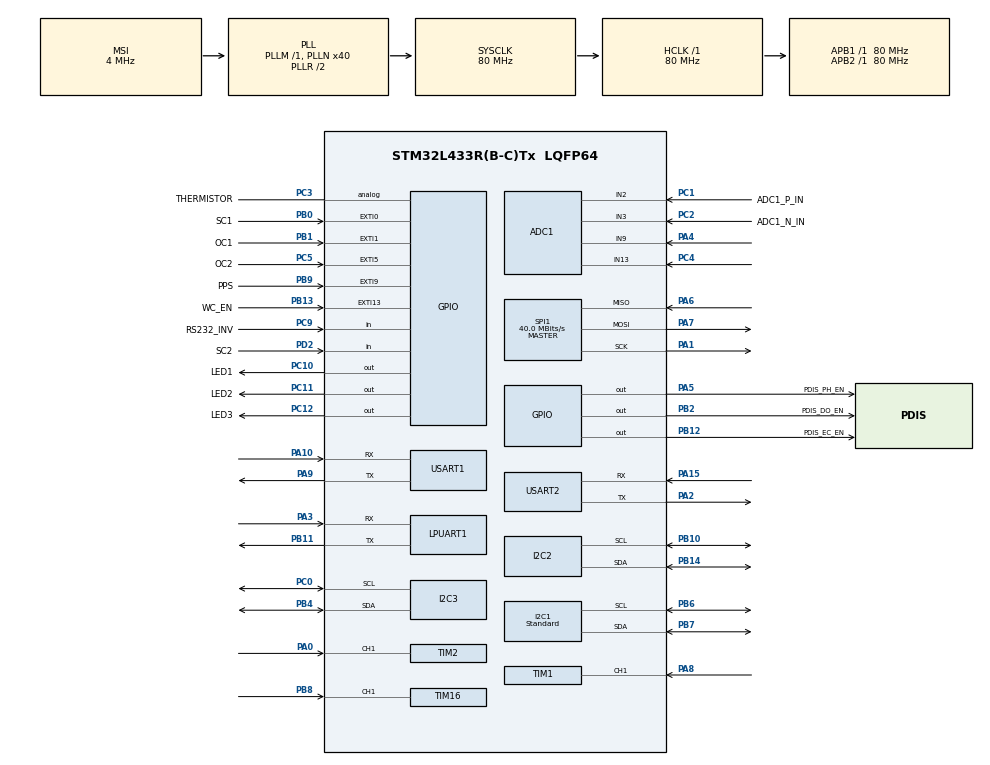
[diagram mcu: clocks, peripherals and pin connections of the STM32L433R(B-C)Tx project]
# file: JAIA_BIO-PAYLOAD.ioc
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ADC1.Channel-1\#ChannelRegularConversion=ADC_CHANNEL_2
ADC1.NbrOfConversionFlag=1
ADC1.OffsetNumber-1\#ChannelRegularConversion=ADC_OFFSET_NONE
ADC1.Rank-1\#ChannelRegularConversion=1
ADC1.SamplingTime-1\#ChannelRegularConversion=ADC_SAMPLETIME_2CYCLES_5
ADC1.SingleDiff-1\#ChannelRegularConversion=ADC_DIFFERENTIAL_ENDED
ADC1.master=1
I2C1.CustomTiming=Disabled
I2C1.I2C_Speed_Mode=I2C_Standard
I2C1.NoStretchMode=I2C_NOSTRETCH_DISABLE
I2C1.Timing=0x10D19CE4
I2C2.Timing=0x10D19CE4
I2C3.Timing=0x10D19CE4
Mcu.Family=STM32L4
Mcu.Name=STM32L433R(B-C)Tx
Mcu.Package=LQFP64
NVIC.PriorityGroup=NVIC_PRIORITYGROUP_4
PA0.Signal=S_TIM2_CH1
PA1.Mode=Full_Duplex_Master
PA1.Signal=SPI1_SCK
PA10.Mode=Asynchronous
PA10.Signal=USART1_RX
PA13\ (JTMS-SWDIO).Mode=Trace_Asynchronous_SW
PA13\ (JTMS-SWDIO).Signal=SYS_JTMS-SWDIO
PA14\ (JTCK-SWCLK).Mode=Trace_Asynchronous_SW
PA14\ (JTCK-SWCLK).Signal=SYS_JTCK-SWCLK
PA15\ (JTDI).Mode=Asynchronous
PA15\ (JTDI).Signal=USART2_RX
PA2.Mode=Asynchronous
PA2.Signal=USART2_TX
PA3.Mode=Asynchronous
PA3.Signal=LPUART1_RX
PA4.Signal=ADCx_IN9
PA5.GPIO_Label=PDIS_PH_EN
PA5.GPIO_PuPd=GPIO_PULLDOWN
PA5.Signal=GPIO_Output
PA6.Mode=Full_Duplex_Master
PA6.Signal=SPI1_MISO
PA7.Mode=Full_Duplex_Master
PA7.Signal=SPI1_MOSI
PA8.Signal=S_TIM1_CH1
PA9.Mode=Asynchronous
PA9.Signal=USART1_TX
PB0.GPIO_Label=SC1
PB0.GPIO_PuPd=GPIO_PULLDOWN
PB0.Signal=GPXTI0
PB1.GPIO_Label=OC1
PB1.GPIO_PuPd=GPIO_PULLDOWN
PB1.Signal=GPXTI1
PB10.Mode=I2C
PB10.Signal=I2C2_SCL
PB11.Mode=Asynchronous
PB11.Signal=LPUART1_TX
PB12.GPIO_Label=PDIS_EC_EN
PB12.GPIO_PuPd=GPIO_PULLDOWN
PB12.Signal=GPIO_Output
PB13.GPIO_Label=WC_EN
PB13.GPIO_PuPd=GPIO_PULLDOWN
PB13.Signal=GPXTI13
PB14.Mode=I2C
PB14.Signal=I2C2_SDA
PB2.GPIO_Label=PDIS_DO_EN
PB2.GPIO_PuPd=GPIO_PULLDOWN
PB2.Signal=GPIO_Output
PB3\ (JTDO-TRACESWO).Mode=Trace_Asynchronous_SW
PB3\ (JTDO-TRACESWO).Signal=SYS_JTDO-SWO
PB4\ (NJTRST).Mode=I2C
PB4\ (NJTRST).Signal=I2C3_SDA
PB6.Mode=I2C
PB6.Signal=I2C1_SCL
PB7.Mode=I2C
PB7.Signal=I2C1_SDA
PB8.Signal=S_TIM16_CH1
PB9.GPIO_Label=PPS
PB9.Signal=GPXTI9
PC0.Mode=I2C
PC0.Signal=I2C3_SCL
PC1.GPIO_Label=ADC1_P_IN
PC1.Signal=ADCx_IN2
PC10.GPIO_Label=LED1
PC10.Signal=GPIO_Output
PC11.GPIO_Label=LED2
PC11.Signal=GPIO_Output
PC12.GPIO_Label=LED3
PC12.Signal=GPIO_Output
PC14-OSC32_IN\ (PC14).Mode=LSE-External-Oscillator
PC14-OSC32_IN\ (PC14).Signal=RCC_OSC32_IN
PC15-OSC32_OUT\ (PC15).Mode=LSE-External-Oscillator
PC15-OSC32_OUT\ (PC15).Signal=RCC_OSC32_OUT
PC2.GPIO_Label=ADC1_N_IN
PC2.Signal=ADCx_IN3
PC3.GPIO_Label=THERMISTOR
PC3.Signal=GPIO_Analog
PC4.Signal=ADCx_IN13
PC5.GPIO_Label=OC2
PC5.GPIO_PuPd=GPIO_PULLDOWN
PC5.Signal=GPXTI5
PC9.GPIO_Label=RS232_INV
PC9.GPIO_PuPd=GPIO_PULLDOWN
PC9.Signal=GPIO_Input
PD2.GPIO_Label=SC2
PD2.Signal=GPIO_Input
PH0-OSC_IN\ (PH0).Mode=HSE-External-Oscillator
PH0-OSC_IN\ (PH0).Signal=RCC_OSC_IN
PH1-OSC_OUT\ (PH1).Mode=HSE-External-Oscillator
PH1-OSC_OUT\ (PH1).Signal=RCC_OSC_OUT
ProjectManager.HeapSize=0x200
ProjectManager.StackSize=0x400
ProjectManager.TargetToolchain=STM32CubeIDE
RCC.ADCFreq_Value=48000000
RCC.AHBFreq_Value=80000000
RCC.APB1Freq_Value=80000000
RCC.APB1TimFreq_Value=80000000
RCC.APB2Freq_Value=80000000
RCC.APB2TimFreq_Value=80000000
RCC.CortexFreq_Value=80000000
RCC.HCLKFreq_Value=80000000
RCC.HSE_VALUE=25000000
RCC.HSI48_VALUE=48000000
RCC.HSI_VALUE=16000000
RCC.MSI_VALUE=4000000
RCC.PLLN=40
RCC.PLLSAI1N=24
RCC.SYSCLKFreq_VALUE=80000000
RCC.SYSCLKSource=RCC_SYSCLKSOURCE_PLLCLK
RCC.USBFreq_Value=48000000
RCC.VCOOutputFreq_Value=160000000
SH.ADCx_IN13.0=ADC1_IN13,IN13-Single-Ended
SH.ADCx_IN2.0=ADC1_IN2,IN2-Differential
SH.ADCx_IN3.0=ADC1_IN3,IN2-Differential
SH.ADCx_IN9.0=ADC1_IN9,IN9-Single-Ended
SH.S_TIM16_CH1.0=TIM16_CH1,Input_Capture1_from_TI1
SH.S_TIM1_CH1.0=TIM1_CH1,Input_Capture1_from_TI1
SH.S_TIM2_CH1.0=TIM2_CH1,Input_Capture1_from_TI1
SPI1.BaudRatePrescaler=SPI_BAUDRATEPRESCALER_2
SPI1.CalculateBaudRate=40.0 MBits/s
SPI1.Direction=SPI_DIRECTION_2LINES
SPI1.Mode=SPI_MODE_MASTER
SPI1.VirtualType=VM_MASTER
TIM1.Channel-Input_Capture1_from_TI1=TIM_CHANNEL_1
TIM16.Channel=TIM_CHANNEL_1
TIM2.Channel-Input_Capture1_from_TI1=TIM_CHANNEL_1
USART1.VirtualMode-Asynchronous=VM_ASYNC
USART2.VirtualMode-Asynchronous=VM_ASYNC
VP_TIM16_VS_ClockSourceINT.Mode=Enable_Timer
board=custom

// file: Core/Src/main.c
/* USER CODE BEGIN Header */
/**
  ******************************************************************************
  * @file           : main.c
  * @brief          : Main program body
  ******************************************************************************
  * @attention
  *
  * Copyright (c) 2024 STMicroelectronics.
  * All rights reserved.
  *
  * This software is licensed under terms that can be found in the LICENSE file
  * in the root directory of this software component.
  * If no LICENSE file comes with this software, it is provided AS-IS.
  *
  ******************************************************************************
  */
/* USER CODE END Header */
#include "main.h"

/* USER CODE BEGIN Includes */

#include "ec_oem.h"
#include "oem_library.h"
#include "stdint.h"
#include "stdio.h"

/* USER CODE END Includes */

ADC_HandleTypeDef hadc1;

I2C_HandleTypeDef hi2c1;
I2C_HandleTypeDef hi2c2;
I2C_HandleTypeDef hi2c3;

UART_HandleTypeDef hlpuart1;
UART_HandleTypeDef huart1;
UART_HandleTypeDef huart2;

SPI_HandleTypeDef hspi1;

TIM_HandleTypeDef htim1;
TIM_HandleTypeDef htim2;
TIM_HandleTypeDef htim16;

/* USER CODE BEGIN PV */

OEM_CHIP ec;
OEM_CHIP dOxy;  // do is a reserved keyword in C, so dissolved oxygen has to be something else
OEM_CHIP ph;

char tx_buff[32] = "Test!\r\n";
uint8_t count = 1;

/* USER CODE END PV */

void SystemClock_Config(void);
static void MX_GPIO_Init(void);
static void MX_ADC1_Init(void);
static void MX_I2C1_Init(void);
static void MX_I2C2_Init(void);
static void MX_I2C3_Init(void);
static void MX_LPUART1_UART_Init(void);
static void MX_USART1_UART_Init(void);
static void MX_USART2_UART_Init(void);
static void MX_SPI1_Init(void);
static void MX_TIM1_Init(void);
static void MX_TIM2_Init(void);
static void MX_TIM16_Init(void);
/* USER CODE BEGIN PFP */

void ConfigureI2CPins(void);

/* USER CODE END PFP */

/* USER CODE BEGIN 0 */

// Loop through memory addresses to find addresses with I2C devices on them
void I2C_Scan(void) {
  uint8_t Buffer[25] = {0};
  uint8_t Space[] = " - ";
  uint8_t StartMSG[] = "Starting I2C Scanning: \r\n";
  uint8_t EndMSG[] = "\r\n\r\n Done! \r\n\r\n";

  uint8_t i = 0, ret;

  HAL_UART_Transmit(&huart2, StartMSG, sizeof(StartMSG), HAL_MAX_DELAY);
  for(i=1; i<128; i++)
  {
      ret = HAL_I2C_IsDeviceReady(&hi2c2, (uint16_t)(i<<1), 3, 5);
      if (ret != HAL_OK) /* No ACK Received At That Address */
      {
        HAL_UART_Transmit(&huart2, Space, sizeof(Space), HAL_MAX_DELAY);
      } else if (ret == HAL_OK) {
        sprintf(Buffer, "0x%X", i);
        HAL_UART_Transmit(&huart2, Buffer, sizeof(Buffer), HAL_MAX_DELAY);
      }
  }
  HAL_UART_Transmit(&huart2, EndMSG, sizeof(EndMSG), HAL_MAX_DELAY);
    /*--[ Scanning Done ]--*/

  return;
}

// Set RAM to our flag (random number) and reset the MCU
void RebootIntoDFU()
{
	//*((uint32_t *)0x20000000) = 0xFFFFFFFF;
	//NVIC_SystemReset();

	HAL_FLASH_Unlock();

	// Flash Erase Configuration
	FLASH_EraseInitTypeDef eraseInitStruct = {0};
	uint32_t pageError = 0;

	eraseInitStruct.TypeErase = FLASH_TYPEERASE_PAGES; // Page erase
	eraseInitStruct.Banks = FLASH_BANK_1;             // Specify Bank 1
	eraseInitStruct.Page = 0;                         // Page number to erase (0 = first page)
	eraseInitStruct.NbPages = 1;                      // Number of pages to erase

	// Perform the erase operation
	if (HAL_FLASHEx_Erase(&eraseInitStruct, &pageError) != HAL_OK)
	{
	    // Handle error
	    uint32_t errorCode = HAL_FLASH_GetError();
	    while (1); // Debug: Loop indefinitely on error
	}

	uint32_t address = 0x08000000;
	uint64_t data_to_write = 0xFFFFFFFFFFFFFFFF;

	// Program the flash (64-bit aligned)
	if (HAL_FLASH_Program(FLASH_TYPEPROGRAM_DOUBLEWORD, address, data_to_write) != HAL_OK)
	{
	    uint32_t errorCode = HAL_FLASH_GetError();
	    while (1);
	}

	HAL_FLASH_Lock(); // Lock the flash to prevent accidental writes

	// Disable all interrupts
	__disable_irq();

	// Disable Systick timer
	SysTick->CTRL = 0;

	// Set the clock to the default state
	HAL_RCC_DeInit();

	// Clear Interrupt Enable Register & Interrupt Pending Register
	for (uint8_t i = 0; i < (MCU_IRQS + 31u) / 32; i++)
	{
	  NVIC->ICER[i]=0xFFFFFFFF;
	  NVIC->ICPR[i]=0xFFFFFFFF;
	}

	// Re-enable all interrupts
	__enable_irq();

	// Set the MSP
	__set_MSP(BOOTVTAB->Initial_SP);

	// Jump to app firmware
	BOOTVTAB->Reset_Handler();
}

void startAtlasChips() {

  // Turn on Atlas Sensors
  HAL_GPIO_WritePin(GPIOA,GPIO_PIN_5,GPIO_PIN_SET); // pH
  HAL_GPIO_WritePin(GPIOB,GPIO_PIN_2,GPIO_PIN_SET); // DO
  HAL_GPIO_WritePin(GPIOB,GPIO_PIN_12,GPIO_PIN_SET); // EC

  // Look for powered-up I2C devices on i2c bus 2
  I2C_Scan();

  // Assign the I2C address of each Atlas Scientific chip to its respective object
  ec.devAddr = EC_OEM_I2C_ADDR;
  ph.devAddr = PH_OEM_I2C_ADDR;
  dOxy.devAddr = DO_OEM_I2C_ADDR;

  // Activate our Atlas Scientific chips
  HAL_StatusTypeDef ec_init_status = OEM_Init(&ec, &hi2c2);
  HAL_StatusTypeDef do_init_status = OEM_Init(&dOxy, &hi2c2);
  HAL_StatusTypeDef ph_init_status = OEM_Init(&ph, &hi2c2);

  sprintf(tx_buff, "EC Init Status: 0x%02X\r\nDO Init Status: 0x%02X\r\npH Init Status: 0x%02X\r\n\r\n", ec_init_status, do_init_status, ph_init_status);
  HAL_UART_Transmit(&huart2, tx_buff, strlen(tx_buff), HAL_MAX_DELAY);
}

/* USER CODE END 0 */

int main(void)
{

  /* MCU Configuration--------------------------------------------------------*/

  /* Reset of all peripherals, Initializes the Flash interface and the Systick. */
  HAL_Init();

  /* Configure the system clock */
  SystemClock_Config();

  /* Initialize all configured peripherals */
  MX_GPIO_Init();
  MX_ADC1_Init();
  MX_I2C1_Init();
  MX_I2C2_Init();
  MX_I2C3_Init();
  MX_LPUART1_UART_Init();
  MX_USART1_UART_Init();
  MX_USART2_UART_Init();
  MX_SPI1_Init();
  MX_TIM1_Init();
  MX_TIM2_Init();
  MX_TIM16_Init();
  /* USER CODE BEGIN 2 */

  RebootIntoDFU();
  //HAL_NVIC_SystemReset();
  startAtlasChips();

  /* USER CODE END 2 */

  /* Infinite loop */
  /* USER CODE BEGIN WHILE */

  while (1)
  {
    HAL_Delay(1000);  // Pause for 1 sec (1000 ms)

    /* LEDs */
    HAL_GPIO_TogglePin(GPIOC,GPIO_PIN_10);
    HAL_GPIO_TogglePin(GPIOC,GPIO_PIN_11);
    HAL_GPIO_TogglePin(GPIOC,GPIO_PIN_12);

    HAL_StatusTypeDef phReadStatus = OEM_ReadData(&ph);
    HAL_StatusTypeDef doReadStatus = OEM_ReadData(&dOxy);
    HAL_StatusTypeDef ecReadStatus = OEM_ReadData(&ec);

    sprintf(tx_buff, "PH: 0x%02X, %d\r\nDO: 0x%02X, %d\r\nEC: 0x%02X, %d\r\n\r\n", phReadStatus, ph.reading, doReadStatus, dOxy.reading, ecReadStatus, ec.reading);
    HAL_UART_Transmit(&huart2, tx_buff, strlen(tx_buff), HAL_MAX_DELAY);
    /* USER CODE END WHILE */

  }
}

void SystemClock_Config(void)
{
  RCC_OscInitTypeDef RCC_OscInitStruct = {0};
  RCC_ClkInitTypeDef RCC_ClkInitStruct = {0};

  /** Configure the main internal regulator output voltage
  */
  if (HAL_PWREx_ControlVoltageScaling(PWR_REGULATOR_VOLTAGE_SCALE1) != HAL_OK)
  {
    Error_Handler();
  }

  /** Configure LSE Drive Capability
  */
  HAL_PWR_EnableBkUpAccess();
  __HAL_RCC_LSEDRIVE_CONFIG(RCC_LSEDRIVE_LOW);

  /** Initializes the RCC Oscillators according to the specified parameters
  * in the RCC_OscInitTypeDef structure.
  */
  RCC_OscInitStruct.OscillatorType = RCC_OSCILLATORTYPE_LSI|RCC_OSCILLATORTYPE_LSE
                              |RCC_OSCILLATORTYPE_MSI;
  RCC_OscInitStruct.LSEState = RCC_LSE_ON;
  RCC_OscInitStruct.LSIState = RCC_LSI_ON;
  RCC_OscInitStruct.MSIState = RCC_MSI_ON;
  RCC_OscInitStruct.MSICalibrationValue = 0;
  RCC_OscInitStruct.MSIClockRange = RCC_MSIRANGE_6;
  RCC_OscInitStruct.PLL.PLLState = RCC_PLL_ON;
  RCC_OscInitStruct.PLL.PLLSource = RCC_PLLSOURCE_MSI;
  RCC_OscInitStruct.PLL.PLLM = 1;
  RCC_OscInitStruct.PLL.PLLN = 40;
  RCC_OscInitStruct.PLL.PLLP = RCC_PLLP_DIV7;
  RCC_OscInitStruct.PLL.PLLQ = RCC_PLLQ_DIV2;
  RCC_OscInitStruct.PLL.PLLR = RCC_PLLR_DIV2;
  if (HAL_RCC_OscConfig(&RCC_OscInitStruct) != HAL_OK)
  {
    Error_Handler();
  }

  /** Initializes the CPU, AHB and APB buses clocks
  */
  RCC_ClkInitStruct.ClockType = RCC_CLOCKTYPE_HCLK|RCC_CLOCKTYPE_SYSCLK
                              |RCC_CLOCKTYPE_PCLK1|RCC_CLOCKTYPE_PCLK2;
  RCC_ClkInitStruct.SYSCLKSource = RCC_SYSCLKSOURCE_PLLCLK;
  RCC_ClkInitStruct.AHBCLKDivider = RCC_SYSCLK_DIV1;
  RCC_ClkInitStruct.APB1CLKDivider = RCC_HCLK_DIV1;
  RCC_ClkInitStruct.APB2CLKDivider = RCC_HCLK_DIV1;

  if (HAL_RCC_ClockConfig(&RCC_ClkInitStruct, FLASH_LATENCY_4) != HAL_OK)
  {
    Error_Handler();
  }

  /** Enable MSI Auto calibration
  */
  HAL_RCCEx_EnableMSIPLLMode();
}

static void MX_ADC1_Init(void)
{

  ADC_ChannelConfTypeDef sConfig = {0};

  /** Common config
  */
  hadc1.Instance = ADC1;
  hadc1.Init.ClockPrescaler = ADC_CLOCK_ASYNC_DIV1;
  hadc1.Init.Resolution = ADC_RESOLUTION_12B;
  hadc1.Init.DataAlign = ADC_DATAALIGN_RIGHT;
  hadc1.Init.ScanConvMode = ADC_SCAN_DISABLE;
  hadc1.Init.EOCSelection = ADC_EOC_SINGLE_CONV;
  hadc1.Init.LowPowerAutoWait = DISABLE;
  hadc1.Init.ContinuousConvMode = DISABLE;
  hadc1.Init.NbrOfConversion = 1;
  hadc1.Init.DiscontinuousConvMode = DISABLE;
  hadc1.Init.ExternalTrigConv = ADC_SOFTWARE_START;
  hadc1.Init.ExternalTrigConvEdge = ADC_EXTERNALTRIGCONVEDGE_NONE;
  hadc1.Init.DMAContinuousRequests = DISABLE;
  hadc1.Init.Overrun = ADC_OVR_DATA_PRESERVED;
  hadc1.Init.OversamplingMode = DISABLE;
  if (HAL_ADC_Init(&hadc1) != HAL_OK)
  {
    Error_Handler();
  }

  /** Configure Regular Channel
  */
  sConfig.Channel = ADC_CHANNEL_2;
  sConfig.Rank = ADC_REGULAR_RANK_1;
  sConfig.SamplingTime = ADC_SAMPLETIME_2CYCLES_5;
  sConfig.SingleDiff = ADC_DIFFERENTIAL_ENDED;
  sConfig.OffsetNumber = ADC_OFFSET_NONE;
  sConfig.Offset = 0;
  if (HAL_ADC_ConfigChannel(&hadc1, &sConfig) != HAL_OK)
  {
    Error_Handler();
  }

}

static void MX_I2C1_Init(void)
{

  hi2c1.Instance = I2C1;
  hi2c1.Init.Timing = 0x10D19CE4;
  hi2c1.Init.OwnAddress1 = 0;
  hi2c1.Init.AddressingMode = I2C_ADDRESSINGMODE_7BIT;
  hi2c1.Init.DualAddressMode = I2C_DUALADDRESS_DISABLE;
  hi2c1.Init.OwnAddress2 = 0;
  hi2c1.Init.OwnAddress2Masks = I2C_OA2_NOMASK;
  hi2c1.Init.GeneralCallMode = I2C_GENERALCALL_DISABLE;
  hi2c1.Init.NoStretchMode = I2C_NOSTRETCH_DISABLE;
  if (HAL_I2C_Init(&hi2c1) != HAL_OK)
  {
    Error_Handler();
  }

  /** Configure Analogue filter
  */
  if (HAL_I2CEx_ConfigAnalogFilter(&hi2c1, I2C_ANALOGFILTER_ENABLE) != HAL_OK)
  {
    Error_Handler();
  }

  /** Configure Digital filter
  */
  if (HAL_I2CEx_ConfigDigitalFilter(&hi2c1, 0) != HAL_OK)
  {
    Error_Handler();
  }

}

static void MX_I2C2_Init(void)
{

  hi2c2.Instance = I2C2;
  hi2c2.Init.Timing = 0x10D19CE4;
  hi2c2.Init.OwnAddress1 = 0;
  hi2c2.Init.AddressingMode = I2C_ADDRESSINGMODE_7BIT;
  hi2c2.Init.DualAddressMode = I2C_DUALADDRESS_DISABLE;
  hi2c2.Init.OwnAddress2 = 0;
  hi2c2.Init.OwnAddress2Masks = I2C_OA2_NOMASK;
  hi2c2.Init.GeneralCallMode = I2C_GENERALCALL_DISABLE;
  hi2c2.Init.NoStretchMode = I2C_NOSTRETCH_DISABLE;
  if (HAL_I2C_Init(&hi2c2) != HAL_OK)
  {
    Error_Handler();
  }

  /** Configure Analogue filter
  */
  if (HAL_I2CEx_ConfigAnalogFilter(&hi2c2, I2C_ANALOGFILTER_ENABLE) != HAL_OK)
  {
    Error_Handler();
  }

  /** Configure Digital filter
  */
  if (HAL_I2CEx_ConfigDigitalFilter(&hi2c2, 0) != HAL_OK)
  {
    Error_Handler();
  }

}

static void MX_I2C3_Init(void)
{

  hi2c3.Instance = I2C3;
  hi2c3.Init.Timing = 0x10D19CE4;
  hi2c3.Init.OwnAddress1 = 0;
  hi2c3.Init.AddressingMode = I2C_ADDRESSINGMODE_7BIT;
  hi2c3.Init.DualAddressMode = I2C_DUALADDRESS_DISABLE;
  hi2c3.Init.OwnAddress2 = 0;
  hi2c3.Init.OwnAddress2Masks = I2C_OA2_NOMASK;
  hi2c3.Init.GeneralCallMode = I2C_GENERALCALL_DISABLE;
  hi2c3.Init.NoStretchMode = I2C_NOSTRETCH_DISABLE;
  if (HAL_I2C_Init(&hi2c3) != HAL_OK)
  {
    Error_Handler();
  }

  /** Configure Analogue filter
  */
  if (HAL_I2CEx_ConfigAnalogFilter(&hi2c3, I2C_ANALOGFILTER_ENABLE) != HAL_OK)
  {
    Error_Handler();
  }

  /** Configure Digital filter
  */
  if (HAL_I2CEx_ConfigDigitalFilter(&hi2c3, 0) != HAL_OK)
  {
    Error_Handler();
  }

}

static void MX_LPUART1_UART_Init(void)
{

  hlpuart1.Instance = LPUART1;
  hlpuart1.Init.BaudRate = 209700;
  hlpuart1.Init.WordLength = UART_WORDLENGTH_7B;
  hlpuart1.Init.StopBits = UART_STOPBITS_1;
  hlpuart1.Init.Parity = UART_PARITY_NONE;
  hlpuart1.Init.Mode = UART_MODE_TX_RX;
  hlpuart1.Init.HwFlowCtl = UART_HWCONTROL_NONE;
  hlpuart1.Init.OneBitSampling = UART_ONE_BIT_SAMPLE_DISABLE;
  hlpuart1.AdvancedInit.AdvFeatureInit = UART_ADVFEATURE_NO_INIT;
  if (HAL_UART_Init(&hlpuart1) != HAL_OK)
  {
    Error_Handler();
  }

}

static void MX_USART1_UART_Init(void)
{

  huart1.Instance = USART1;
  huart1.Init.BaudRate = 115200;
  huart1.Init.WordLength = UART_WORDLENGTH_8B;
  huart1.Init.StopBits = UART_STOPBITS_1;
  huart1.Init.Parity = UART_PARITY_NONE;
  huart1.Init.Mode = UART_MODE_TX_RX;
  huart1.Init.HwFlowCtl = UART_HWCONTROL_NONE;
  huart1.Init.OverSampling = UART_OVERSAMPLING_16;
  huart1.Init.OneBitSampling = UART_ONE_BIT_SAMPLE_DISABLE;
  huart1.AdvancedInit.AdvFeatureInit = UART_ADVFEATURE_NO_INIT;
  if (HAL_UART_Init(&huart1) != HAL_OK)
  {
    Error_Handler();
  }

}

static void MX_USART2_UART_Init(void)
{

  huart2.Instance = USART2;
  huart2.Init.BaudRate = 115200;
  huart2.Init.WordLength = UART_WORDLENGTH_8B;
  huart2.Init.StopBits = UART_STOPBITS_1;
  huart2.Init.Parity = UART_PARITY_NONE;
  huart2.Init.Mode = UART_MODE_TX_RX;
  huart2.Init.HwFlowCtl = UART_HWCONTROL_NONE;
  huart2.Init.OverSampling = UART_OVERSAMPLING_16;
  huart2.Init.OneBitSampling = UART_ONE_BIT_SAMPLE_DISABLE;
  huart2.AdvancedInit.AdvFeatureInit = UART_ADVFEATURE_NO_INIT;
  if (HAL_UART_Init(&huart2) != HAL_OK)
  {
    Error_Handler();
  }

}

static void MX_SPI1_Init(void)
{

  /* SPI1 parameter configuration*/
  hspi1.Instance = SPI1;
  hspi1.Init.Mode = SPI_MODE_MASTER;
  hspi1.Init.Direction = SPI_DIRECTION_2LINES;
  hspi1.Init.DataSize = SPI_DATASIZE_4BIT;
  hspi1.Init.CLKPolarity = SPI_POLARITY_LOW;
  hspi1.Init.CLKPhase = SPI_PHASE_1EDGE;
  hspi1.Init.NSS = SPI_NSS_SOFT;
  hspi1.Init.BaudRatePrescaler = SPI_BAUDRATEPRESCALER_2;
  hspi1.Init.FirstBit = SPI_FIRSTBIT_MSB;
  hspi1.Init.TIMode = SPI_TIMODE_DISABLE;
  hspi1.Init.CRCCalculation = SPI_CRCCALCULATION_DISABLE;
  hspi1.Init.CRCPolynomial = 7;
  hspi1.Init.CRCLength = SPI_CRC_LENGTH_DATASIZE;
  hspi1.Init.NSSPMode = SPI_NSS_PULSE_ENABLE;
  if (HAL_SPI_Init(&hspi1) != HAL_OK)
  {
    Error_Handler();
  }

}

static void MX_TIM1_Init(void)
{

  TIM_MasterConfigTypeDef sMasterConfig = {0};
  TIM_IC_InitTypeDef sConfigIC = {0};

  htim1.Instance = TIM1;
  htim1.Init.Prescaler = 0;
  htim1.Init.CounterMode = TIM_COUNTERMODE_UP;
  htim1.Init.Period = 65535;
  htim1.Init.ClockDivision = TIM_CLOCKDIVISION_DIV1;
  htim1.Init.RepetitionCounter = 0;
  htim1.Init.AutoReloadPreload = TIM_AUTORELOAD_PRELOAD_DISABLE;
  if (HAL_TIM_IC_Init(&htim1) != HAL_OK)
  {
    Error_Handler();
  }
  sMasterConfig.MasterOutputTrigger = TIM_TRGO_RESET;
  sMasterConfig.MasterOutputTrigger2 = TIM_TRGO2_RESET;
  sMasterConfig.MasterSlaveMode = TIM_MASTERSLAVEMODE_DISABLE;
  if (HAL_TIMEx_MasterConfigSynchronization(&htim1, &sMasterConfig) != HAL_OK)
  {
    Error_Handler();
  }
  sConfigIC.ICPolarity = TIM_INPUTCHANNELPOLARITY_RISING;
  sConfigIC.ICSelection = TIM_ICSELECTION_DIRECTTI;
  sConfigIC.ICPrescaler = TIM_ICPSC_DIV1;
  sConfigIC.ICFilter = 0;
  if (HAL_TIM_IC_ConfigChannel(&htim1, &sConfigIC, TIM_CHANNEL_1) != HAL_OK)
  {
    Error_Handler();
  }

}

static void MX_TIM2_Init(void)
{

  TIM_MasterConfigTypeDef sMasterConfig = {0};
  TIM_IC_InitTypeDef sConfigIC = {0};

  htim2.Instance = TIM2;
  htim2.Init.Prescaler = 0;
  htim2.Init.CounterMode = TIM_COUNTERMODE_UP;
  htim2.Init.Period = 4294967295;
  htim2.Init.ClockDivision = TIM_CLOCKDIVISION_DIV1;
  htim2.Init.AutoReloadPreload = TIM_AUTORELOAD_PRELOAD_DISABLE;
  if (HAL_TIM_IC_Init(&htim2) != HAL_OK)
  {
    Error_Handler();
  }
  sMasterConfig.MasterOutputTrigger = TIM_TRGO_RESET;
  sMasterConfig.MasterSlaveMode = TIM_MASTERSLAVEMODE_DISABLE;
  if (HAL_TIMEx_MasterConfigSynchronization(&htim2, &sMasterConfig) != HAL_OK)
  {
    Error_Handler();
  }
  sConfigIC.ICPolarity = TIM_INPUTCHANNELPOLARITY_RISING;
  sConfigIC.ICSelection = TIM_ICSELECTION_DIRECTTI;
  sConfigIC.ICPrescaler = TIM_ICPSC_DIV1;
  sConfigIC.ICFilter = 0;
  if (HAL_TIM_IC_ConfigChannel(&htim2, &sConfigIC, TIM_CHANNEL_1) != HAL_OK)
  {
    Error_Handler();
  }

}

static void MX_TIM16_Init(void)
{

  TIM_IC_InitTypeDef sConfigIC = {0};

  htim16.Instance = TIM16;
  htim16.Init.Prescaler = 0;
  htim16.Init.CounterMode = TIM_COUNTERMODE_UP;
  htim16.Init.Period = 65535;
  htim16.Init.ClockDivision = TIM_CLOCKDIVISION_DIV1;
  htim16.Init.RepetitionCounter = 0;
  htim16.Init.AutoReloadPreload = TIM_AUTORELOAD_PRELOAD_DISABLE;
  if (HAL_TIM_Base_Init(&htim16) != HAL_OK)
  {
    Error_Handler();
  }
  if (HAL_TIM_IC_Init(&htim16) != HAL_OK)
  {
    Error_Handler();
  }
  sConfigIC.ICPolarity = TIM_INPUTCHANNELPOLARITY_RISING;
  sConfigIC.ICSelection = TIM_ICSELECTION_DIRECTTI;
  sConfigIC.ICPrescaler = TIM_ICPSC_DIV1;
  sConfigIC.ICFilter = 0;
  if (HAL_TIM_IC_ConfigChannel(&htim16, &sConfigIC, TIM_CHANNEL_1) != HAL_OK)
  {
    Error_Handler();
  }

}

static void MX_GPIO_Init(void)
{
  GPIO_InitTypeDef GPIO_InitStruct = {0};

  /* GPIO Ports Clock Enable */
  __HAL_RCC_GPIOC_CLK_ENABLE();
  __HAL_RCC_GPIOH_CLK_ENABLE();
  __HAL_RCC_GPIOA_CLK_ENABLE();
  __HAL_RCC_GPIOB_CLK_ENABLE();
  __HAL_RCC_GPIOD_CLK_ENABLE();

  /*Configure GPIO pin Output Level */
  HAL_GPIO_WritePin(PDIS_PH_EN_GPIO_Port, PDIS_PH_EN_Pin, GPIO_PIN_RESET);

  /*Configure GPIO pin Output Level */
  HAL_GPIO_WritePin(GPIOB, PDIS_DO_EN_Pin|PDIS_EC_EN_Pin, GPIO_PIN_RESET);

  /*Configure GPIO pin Output Level */
  HAL_GPIO_WritePin(GPIOC, LED1_Pin|LED2_Pin|LED3_Pin, GPIO_PIN_RESET);

  /*Configure GPIO pin : THERMISTOR_Pin */
  GPIO_InitStruct.Pin = THERMISTOR_Pin;
  GPIO_InitStruct.Mode = GPIO_MODE_ANALOG;
  GPIO_InitStruct.Pull = GPIO_NOPULL;
  HAL_GPIO_Init(THERMISTOR_GPIO_Port, &GPIO_InitStruct);

  /*Configure GPIO pin : PDIS_PH_EN_Pin */
  GPIO_InitStruct.Pin = PDIS_PH_EN_Pin;
  GPIO_InitStruct.Mode = GPIO_MODE_OUTPUT_PP;
  GPIO_InitStruct.Pull = GPIO_PULLDOWN;
  GPIO_InitStruct.Speed = GPIO_SPEED_FREQ_LOW;
  HAL_GPIO_Init(PDIS_PH_EN_GPIO_Port, &GPIO_InitStruct);

  /*Configure GPIO pin : OC2_Pin */
  GPIO_InitStruct.Pin = OC2_Pin;
  GPIO_InitStruct.Mode = GPIO_MODE_IT_RISING;
  GPIO_InitStruct.Pull = GPIO_PULLDOWN;
  HAL_GPIO_Init(OC2_GPIO_Port, &GPIO_InitStruct);

  /*Configure GPIO pins : SC1_Pin OC1_Pin WC_EN_Pin */
  GPIO_InitStruct.Pin = SC1_Pin|OC1_Pin|WC_EN_Pin;
  GPIO_InitStruct.Mode = GPIO_MODE_IT_RISING;
  GPIO_InitStruct.Pull = GPIO_PULLDOWN;
  HAL_GPIO_Init(GPIOB, &GPIO_InitStruct);

  /*Configure GPIO pins : PDIS_DO_EN_Pin PDIS_EC_EN_Pin */
  GPIO_InitStruct.Pin = PDIS_DO_EN_Pin|PDIS_EC_EN_Pin;
  GPIO_InitStruct.Mode = GPIO_MODE_OUTPUT_PP;
  GPIO_InitStruct.Pull = GPIO_PULLDOWN;
  GPIO_InitStruct.Speed = GPIO_SPEED_FREQ_LOW;
  HAL_GPIO_Init(GPIOB, &GPIO_InitStruct);

  /*Configure GPIO pin : RS232_INV_Pin */
  GPIO_InitStruct.Pin = RS232_INV_Pin;
  GPIO_InitStruct.Mode = GPIO_MODE_INPUT;
  GPIO_InitStruct.Pull = GPIO_PULLDOWN;
  HAL_GPIO_Init(RS232_INV_GPIO_Port, &GPIO_InitStruct);

  /*Configure GPIO pins : LED1_Pin LED2_Pin LED3_Pin */
  GPIO_InitStruct.Pin = LED1_Pin|LED2_Pin|LED3_Pin;
  GPIO_InitStruct.Mode = GPIO_MODE_OUTPUT_PP;
  GPIO_InitStruct.Pull = GPIO_NOPULL;
  GPIO_InitStruct.Speed = GPIO_SPEED_FREQ_LOW;
  HAL_GPIO_Init(GPIOC, &GPIO_InitStruct);

  /*Configure GPIO pin : SC2_Pin */
  GPIO_InitStruct.Pin = SC2_Pin;
  GPIO_InitStruct.Mode = GPIO_MODE_INPUT;
  GPIO_InitStruct.Pull = GPIO_NOPULL;
  HAL_GPIO_Init(SC2_GPIO_Port, &GPIO_InitStruct);

  /*Configure GPIO pin : PPS_Pin */
  GPIO_InitStruct.Pin = PPS_Pin;
  GPIO_InitStruct.Mode = GPIO_MODE_IT_RISING;
  GPIO_InitStruct.Pull = GPIO_NOPULL;
  HAL_GPIO_Init(PPS_GPIO_Port, &GPIO_InitStruct);

}

void Error_Handler(void)
{
  __disable_irq();
  while (1)
  {
  }
}
